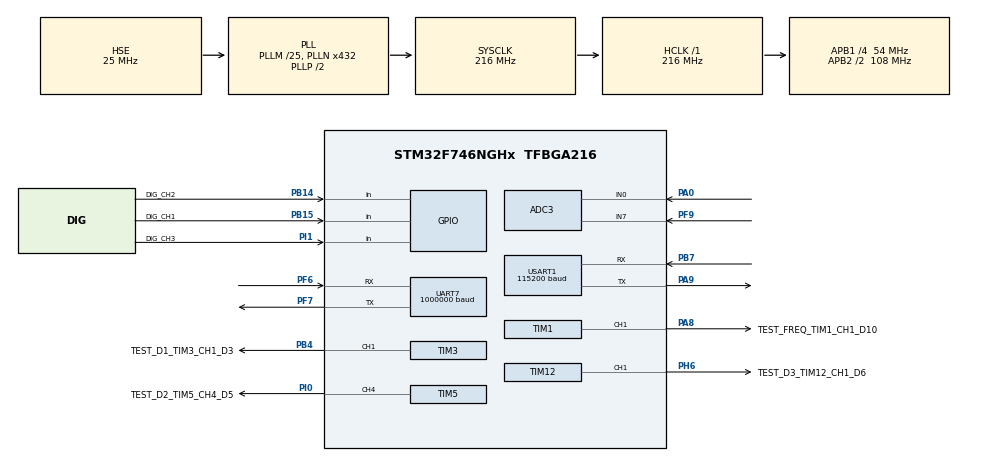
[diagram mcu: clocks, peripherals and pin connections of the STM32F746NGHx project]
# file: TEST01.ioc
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ADC3.Channel-0\#ChannelRegularConversion=ADC_CHANNEL_7
ADC3.Channel-1\#ChannelRegularConversion=ADC_CHANNEL_0
ADC3.ClockPrescaler=ADC_CLOCK_SYNC_PCLK_DIV4
ADC3.DMAContinuousRequests=ENABLE
ADC3.ExternalTrigConv=ADC_EXTERNALTRIGCONV_T8_TRGO
ADC3.NbrOfConversion=2
ADC3.NbrOfConversionFlag=1
ADC3.Rank-0\#ChannelRegularConversion=1
ADC3.Rank-1\#ChannelRegularConversion=2
ADC3.SamplingTime-0\#ChannelRegularConversion=ADC_SAMPLETIME_84CYCLES
ADC3.SamplingTime-1\#ChannelRegularConversion=ADC_SAMPLETIME_28CYCLES
CORTEX_M7.default_mode_Activation=1
Dma.ADC3.0.Direction=DMA_PERIPH_TO_MEMORY
Dma.ADC3.0.FIFOMode=DMA_FIFOMODE_DISABLE
Dma.ADC3.0.Instance=DMA2_Stream0
Dma.ADC3.0.MemDataAlignment=DMA_MDATAALIGN_HALFWORD
Dma.ADC3.0.MemInc=DMA_MINC_ENABLE
Dma.ADC3.0.Mode=DMA_CIRCULAR
Dma.ADC3.0.PeriphDataAlignment=DMA_PDATAALIGN_HALFWORD
Dma.ADC3.0.PeriphInc=DMA_PINC_DISABLE
Dma.ADC3.0.Priority=DMA_PRIORITY_LOW
Dma.Request0=ADC3
Mcu.Family=STM32F7
Mcu.Name=STM32F746NGHx
Mcu.Package=TFBGA216
NVIC.DMA2_Stream0_IRQn=true\:0\:0\:false\:false\:true\:false\:true\:true
NVIC.PriorityGroup=NVIC_PRIORITYGROUP_4
NVIC.TIM8_UP_TIM13_IRQn=true\:0\:0\:false\:false\:true\:true\:true\:true
NVIC.UART7_IRQn=true\:1\:0\:false\:false\:true\:true\:true\:true
NVIC.USART1_IRQn=true\:1\:0\:false\:false\:true\:true\:true\:true
PA0/WKUP.Signal=ADCx_IN0
PA13.Mode=Trace_Asynchronous_SW
PA13.Signal=SYS_JTMS-SWDIO
PA14.Mode=Trace_Asynchronous_SW
PA14.Signal=SYS_JTCK-SWCLK
PA8.GPIO_Label=TEST_FREQ_TIM1_CH1_D10
PA8.GPIO_ModeDefaultPP=GPIO_MODE_AF_PP
PA8.GPIO_PuPd=GPIO_NOPULL
PA8.GPIO_Speed=GPIO_SPEED_FREQ_LOW
PA8.Signal=S_TIM1_CH1
PA9.Mode=Asynchronous
PA9.Signal=USART1_TX
PB14.GPIO_Label=DIG_CH2
PB14.GPIO_PuPd=GPIO_PULLDOWN
PB14.Signal=GPIO_Input
PB15.GPIO_Label=DIG_CH1
PB15.GPIO_PuPd=GPIO_PULLDOWN
PB15.Signal=GPIO_Input
PB3.Mode=Trace_Asynchronous_SW
PB3.Signal=SYS_JTDO-SWO
PB4.GPIO_Label=TEST_D1_TIM3_CH1_D3
PB4.GPIO_ModeDefaultPP=GPIO_MODE_AF_PP
PB4.GPIO_PuPd=GPIO_NOPULL
PB4.GPIO_Speed=GPIO_SPEED_FREQ_LOW
PB4.Signal=S_TIM3_CH1
PB7.Mode=Asynchronous
PB7.Signal=USART1_RX
PF6.GPIO_PuPd=GPIO_PULLUP
PF6.Mode=Asynchronous
PF6.Signal=UART7_RX
PF7.Mode=Asynchronous
PF7.Signal=UART7_TX
PF9.Mode=IN7
PF9.Signal=ADC3_IN7
PH6.GPIO_Label=TEST_D3_TIM12_CH1_D6
PH6.GPIO_ModeDefaultPP=GPIO_MODE_AF_PP
PH6.GPIO_PuPd=GPIO_NOPULL
PH6.GPIO_Speed=GPIO_SPEED_FREQ_LOW
PH6.Signal=S_TIM12_CH1
PI0.GPIO_Label=TEST_D2_TIM5_CH4_D5
PI0.GPIO_ModeDefaultPP=GPIO_MODE_AF_PP
PI0.GPIO_PuPd=GPIO_NOPULL
PI0.GPIO_Speed=GPIO_SPEED_FREQ_LOW
PI0.Signal=S_TIM5_CH4
PI1.GPIO_Label=DIG_CH3
PI1.GPIO_PuPd=GPIO_PULLDOWN
PI1.Signal=GPIO_Input
ProjectManager.HeapSize=0x200
ProjectManager.StackSize=0x400
ProjectManager.TargetToolchain=STM32CubeIDE
RCC.AHBFreq_Value=216000000
RCC.APB1CLKDivider=RCC_HCLK_DIV4
RCC.APB1Freq_Value=54000000
RCC.APB1TimFreq_Value=108000000
RCC.APB2CLKDivider=RCC_HCLK_DIV2
RCC.APB2Freq_Value=108000000
RCC.APB2TimFreq_Value=216000000
RCC.CortexFreq_Value=216000000
RCC.HCLKFreq_Value=216000000
RCC.HSE_VALUE=25000000
RCC.HSI_VALUE=16000000
RCC.LSE_VALUE=32768
RCC.PLLM=25
RCC.PLLN=432
RCC.PLLSourceVirtual=RCC_PLLSOURCE_HSE
RCC.SYSCLKFreq_VALUE=216000000
RCC.SYSCLKSource=RCC_SYSCLKSOURCE_PLLCLK
RCC.USBFreq_Value=216000000
RCC.VCOOutputFreq_Value=432000000
SH.ADCx_IN0.0=ADC3_IN0,IN0
SH.S_TIM12_CH1.0=TIM12_CH1,PWM Generation1 CH1
SH.S_TIM1_CH1.0=TIM1_CH1,PWM Generation1 CH1
SH.S_TIM3_CH1.0=TIM3_CH1,PWM Generation1 CH1
SH.S_TIM5_CH4.0=TIM5_CH4,PWM Generation4 CH4
TIM1.AutoReloadPreload=TIM_AUTORELOAD_PRELOAD_ENABLE
TIM1.Channel-PWM\ Generation1\ CH1=TIM_CHANNEL_1
TIM1.Period=999
TIM1.Prescaler=215
TIM12.AutoReloadPreload=TIM_AUTORELOAD_PRELOAD_ENABLE
TIM12.Channel-PWM\ Generation1\ CH1=TIM_CHANNEL_1
TIM12.Period=1999
TIM12.Prescaler=107
TIM3.AutoReloadPreload=TIM_AUTORELOAD_PRELOAD_ENABLE
TIM3.Channel-PWM\ Generation1\ CH1=TIM_CHANNEL_1
TIM3.Period=9999
TIM3.Prescaler=107
TIM5.AutoReloadPreload=TIM_AUTORELOAD_PRELOAD_ENABLE
TIM5.Channel-PWM\ Generation4\ CH4=TIM_CHANNEL_4
TIM5.Period=3999
TIM5.Prescaler=107
TIM8.Prescaler=215
TIM8.TIM_MasterOutputTrigger=TIM_TRGO_UPDATE
TIM8.TIM_MasterSlaveMode=TIM_MASTERSLAVEMODE_DISABLE
UART7.BaudRate=1000000
UART7.VirtualMode-Asynchronous=VM_ASYNC
USART1.BaudRate=115200
USART1.VirtualMode-Asynchronous=VM_ASYNC
VP_TIM12_VS_ClockSourceINT.Mode=Internal
VP_TIM1_VS_ClockSourceINT.Mode=Internal
VP_TIM3_VS_ClockSourceINT.Mode=Internal
VP_TIM5_VS_ClockSourceINT.Mode=Internal
VP_TIM8_VS_ClockSourceINT.Mode=Internal
board=custom

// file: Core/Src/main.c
/* USER CODE BEGIN Header */
/**
  ******************************************************************************
  * @file           : main.c
  * @brief          : Main program body
  ******************************************************************************
  * @attention
  *
  * Copyright (c) 2026 STMicroelectronics.
  * All rights reserved.
  *
  * This software is licensed under terms that can be found in the LICENSE file
  * in the root directory of this software component.
  * If no LICENSE file comes with this software, it is provided AS-IS.
  *
  ******************************************************************************
  */
/* USER CODE END Header */
#include "main.h"
#include "adc.h"
#include "dma.h"
#include "tim.h"
#include "usart.h"
#include "gpio.h"

/* USER CODE BEGIN Includes */
#include "acquisition.h"
#include "channel_protocol.h"
/* USER CODE END Includes */

/* USER CODE BEGIN PD */
#define MIC_EDGE_RAW_THRESHOLD 1600U
#define MIC_FILTER_TAPS 5U
#define MIC_CENTER_MV 1500
#define MIC_MIN_AUTO_CENTER_SPAN_MV 120U
#define MIC_MAX_DISPLAY_SPAN_MV 2400U
#define MIC_RAIL_LOW_MV 250U
#define MIC_RAIL_HIGH_MV 2900U

/* USER CODE END PD */

/* USER CODE BEGIN PV */
static uint16_t ch1_samples[PROTOCOL_SAMPLES_PER_CHANNEL];
static uint16_t ch2_samples[PROTOCOL_SAMPLES_PER_CHANNEL];
static uint16_t ch1_mv[PROTOCOL_SAMPLES_PER_CHANNEL];
static uint16_t ch2_mv[PROTOCOL_SAMPLES_PER_CHANNEL];
static uint8_t digital_samples[PROTOCOL_SAMPLES_PER_CHANNEL];
static uint8_t tx_frame[PROTOCOL_FULL_FRAME_SIZE];
static uint16_t tx_sequence;
static uint16_t pot_filtered_mv;
static uint32_t pot_filter_last_tick;
static uint8_t pot_filter_initialized;

/* USER CODE END PV */

void SystemClock_Config(void);
static void MPU_Config(void);

/* USER CODE BEGIN 0 */

static uint16_t AdcRawToMillivolts(uint16_t raw)
{
  return (uint16_t)(((uint32_t)raw * 3300U + 2047U) / 4095U);
}

/*
 * Smooth the microphone signal with a short five-sample Gaussian kernel:
 *
 *     (1*previous2 + 2*previous1 + 3*current + 2*next1 + 1*next2) / 9
 *
 * A normal 500 Hz to 2 kHz sine wave only changes by a few hundred ADC
 * counts between adjacent samples at the 20 us setting, so it is smoothed
 * without losing its shape. A very large jump larger than
 * MIC_EDGE_RAW_THRESHOLD is treated as a square-wave edge and kept unchanged.
 */
static uint16_t MicrophoneFilterSample(const uint16_t *samples, uint16_t index)
{
  uint16_t previous2 = samples[(index >= 2U) ? (index - 2U) : 0U];
  uint16_t previous1 = samples[(index >= 1U) ? (index - 1U) : 0U];
  uint16_t current = samples[index];
  uint16_t next1 =
      samples[(index + 1U < PROTOCOL_SAMPLES_PER_CHANNEL) ? (index + 1U)
                                                         : index];
  uint16_t next2 =
      samples[(index + 2U < PROTOCOL_SAMPLES_PER_CHANNEL) ? (index + 2U)
                                                         : index];
  uint16_t delta_previous =
      (current > previous1) ? (current - previous1) : (previous1 - current);
  uint16_t delta_next =
      (current > next1) ? (current - next1) : (next1 - current);

  if ((delta_previous >= MIC_EDGE_RAW_THRESHOLD) ||
      (delta_next >= MIC_EDGE_RAW_THRESHOLD))
  {
    return current;
  }

  return (uint16_t)((previous2 +
                     (2U * previous1) +
                     (3U * current) +
                     (2U * next1) +
                     next2 +
                     (MIC_FILTER_TAPS / 2U)) /
                    9U);
}

/*
 * Software AC centering for microphone signals.
 *
 * The external microphone module can output a signal whose DC level is too
 * close to 0 V. The negative half wave then reaches the ADC's lower limit,
 * making the bottom of the sine look flat. Move the measured waveform's
 * vertical midpoint to 1.5 V so both halves stay visible. If the peak-to-peak
 * value is too large, compress it symmetrically instead of clipping it.
 *
 * A frame recognized as a real square wave bypasses this function. This keeps
 * the rectangular-wave test signal in its original 0/3.3 V form.
 */
static void CenterMicrophoneWaveform(uint16_t *samples, uint16_t count,
                                     uint8_t is_square_wave,
                                     uint16_t *output_min,
                                     uint16_t *output_max)
{
  uint16_t minimum = 0xFFFFU;
  uint16_t maximum = 0U;
  uint16_t span;
  int32_t midpoint;
  uint32_t scale_q12 = 4096U;
  uint16_t new_minimum = 0xFFFFU;
  uint16_t new_maximum = 0U;

  if ((samples == NULL) || (count == 0U) || (is_square_wave != 0U))
  {
    return;
  }

  for (uint16_t i = 0U; i < count; ++i)
  {
    if (samples[i] < minimum) minimum = samples[i];
    if (samples[i] > maximum) maximum = samples[i];
  }
  span = (uint16_t)(maximum - minimum);
  if (span < MIC_MIN_AUTO_CENTER_SPAN_MV)
  {
    return;
  }

  midpoint = ((int32_t)minimum + (int32_t)maximum) / 2;
  if (span > MIC_MAX_DISPLAY_SPAN_MV)
  {
    scale_q12 =
        ((uint32_t)MIC_MAX_DISPLAY_SPAN_MV * 4096U + span / 2U) / span;
  }

  for (uint16_t i = 0U; i < count; ++i)
  {
    int32_t relative = ((int32_t)samples[i] - midpoint);
    int32_t value =
        MIC_CENTER_MV + (int32_t)((relative * (int32_t)scale_q12) / 4096);

    if (value < 0) value = 0;
    if (value > 3000) value = 3000;
    samples[i] = (uint16_t)value;
    if (samples[i] < new_minimum) new_minimum = samples[i];
    if (samples[i] > new_maximum) new_maximum = samples[i];
  }

  if (output_min != NULL) *output_min = new_minimum;
  if (output_max != NULL) *output_max = new_maximum;
}

/* USER CODE END 0 */

int main(void)
{

  /* MPU Configuration--------------------------------------------------------*/
  MPU_Config();

  /* MCU Configuration--------------------------------------------------------*/

  /* Reset of all peripherals, Initializes the Flash interface and the Systick. */
  HAL_Init();

  /* Configure the system clock */
  SystemClock_Config();

  /* Initialize all configured peripherals */
  MX_GPIO_Init();
  MX_DMA_Init();
  MX_ADC3_Init();
  MX_TIM1_Init();
  MX_TIM3_Init();
  MX_TIM5_Init();
  MX_TIM8_Init();
  MX_TIM12_Init();
  MX_USART1_UART_Init();
  MX_UART7_Init();
  /* USER CODE BEGIN 2 */
  if (!Acquisition_Init())
  {
    Error_Handler();
  }
  /* USER CODE END 2 */

  /* Infinite loop */
  /* USER CODE BEGIN WHILE */
  uint32_t next_frame_tick = HAL_GetTick();

  while (1)
  {
    Acquisition_Process();

    uint32_t now = HAL_GetTick();
    if ((int32_t)(now - next_frame_tick) >= 0)
    {
      ProtocolScanMode scan_mode;
      uint32_t capture_tick;

      if (Acquisition_GetLatestFrame(ch1_samples,
                                     ch2_samples,
                                     digital_samples,
                                     PROTOCOL_SAMPLES_PER_CHANNEL,
                                     &scan_mode,
                                     &capture_tick))
      {
        uint16_t ch1_min = 0xFFFFU;
        uint16_t ch1_max = 0U;
        uint16_t ch2_min = 0xFFFFU;
        uint16_t ch2_max = 0U;
        uint16_t ch1_raw_min = 0xFFFFU;
        uint16_t ch1_raw_max = 0U;
        uint16_t ch2_raw_min = 0xFFFFU;
        uint16_t ch2_raw_max = 0U;
        uint32_t ch1_raw_sum = 0U;
        uint16_t d1_high_count = 0U;
        uint16_t d1_low_run = 0U;
        uint16_t d1_high_run = 0U;
        uint16_t d1_max_low_run = 0U;
        uint16_t d1_max_high_run = 0U;
        uint16_t d2_high_count = 0U;
        uint16_t d3_high_count = 0U;
        uint16_t ch2_low_rail_count = 0U;
        uint16_t ch2_high_rail_count = 0U;

        for (uint16_t i = 0U; i < PROTOCOL_SAMPLES_PER_CHANNEL; ++i)
        {
          uint16_t mic_filtered = MicrophoneFilterSample(ch2_samples, i);

          /*
           * The five-point filter suppresses ADC and audio-module noise.
           * Large edges are handled inside MicrophoneFilterSample(), so the
           * same acquisition path still displays the generated square wave.
           */
          ch2_mv[i] = AdcRawToMillivolts(mic_filtered);
          if (ch2_mv[i] < ch2_min) ch2_min = ch2_mv[i];
          if (ch2_mv[i] > ch2_max) ch2_max = ch2_mv[i];
          if (ch2_mv[i] <= MIC_RAIL_LOW_MV) ch2_low_rail_count++;
          if (ch2_mv[i] >= MIC_RAIL_HIGH_MV) ch2_high_rail_count++;

          ch1_raw_sum += ch1_samples[i];
          if (ch1_samples[i] < ch1_raw_min) ch1_raw_min = ch1_samples[i];
          if (ch1_samples[i] > ch1_raw_max) ch1_raw_max = ch1_samples[i];
          if (ch2_samples[i] < ch2_raw_min) ch2_raw_min = ch2_samples[i];
          if (ch2_samples[i] > ch2_raw_max) ch2_raw_max = ch2_samples[i];

          if ((digital_samples[i] & 0x01U) != 0U)
          {
            d1_high_count++;
            d1_high_run++;
            d1_low_run = 0U;
            if (d1_high_run > d1_max_high_run) d1_max_high_run = d1_high_run;
          }
          else
          {
            d1_low_run++;
            d1_high_run = 0U;
            if (d1_low_run > d1_max_low_run) d1_max_low_run = d1_low_run;
          }
          if ((digital_samples[i] & 0x02U) != 0U) d2_high_count++;
          if ((digital_samples[i] & 0x04U) != 0U) d3_high_count++;
        }

        /*
         * A real 0/3.3 V square wave occupies both rails for much of the
         * frame. A microphone transient may produce one large jump, but does
         * not fill both rails. Requiring both rails avoids incorrectly
         * disabling microphone centering during loud audio.
         */
        {
          uint8_t is_square_wave =
              ((ch2_low_rail_count * 4U) > PROTOCOL_SAMPLES_PER_CHANNEL) &&
              ((ch2_high_rail_count * 4U) > PROTOCOL_SAMPLES_PER_CHANNEL);

          CenterMicrophoneWaveform(ch2_mv,
                                   PROTOCOL_SAMPLES_PER_CHANNEL,
                                   is_square_wave,
                                   &ch2_min,
                                   &ch2_max);
        }

        /*
         * CH1 is a potentiometer: its meaningful information is one DC level.
         * A frame average removes ADC noise and supply ripple while preserving
         * the voltage selected by the knob. CH2 remains unfiltered audio.
         */
        {
          uint16_t ch1_raw_average = (uint16_t)(
              (ch1_raw_sum + (PROTOCOL_SAMPLES_PER_CHANNEL / 2U)) /
              PROTOCOL_SAMPLES_PER_CHANNEL);
          uint16_t ch1_mv_average = AdcRawToMillivolts(ch1_raw_average);
          uint32_t now = HAL_GetTick();

          if (!pot_filter_initialized)
          {
            pot_filtered_mv = ch1_mv_average;
            pot_filter_initialized = 1U;
          }
          else
          {
            uint32_t elapsed_ms = now - pot_filter_last_tick;
            int32_t difference =
                (int32_t)ch1_mv_average - (int32_t)pot_filtered_mv;

            if (elapsed_ms == 0U) elapsed_ms = 1U;
            if (elapsed_ms > 1000U) elapsed_ms = 1000U;
            pot_filtered_mv = (uint16_t)(
                (int32_t)pot_filtered_mv +
                (difference * (int32_t)elapsed_ms) /
                    (int32_t)(elapsed_ms + 250U));
          }
          pot_filter_last_tick = now;

          for (uint16_t i = 0U; i < PROTOCOL_SAMPLES_PER_CHANNEL; ++i)
          {
            ch1_mv[i] = pot_filtered_mv;
          }
          /* CH1 in the log is the value actually transmitted to the display. */
          ch1_min = pot_filtered_mv;
          ch1_max = pot_filtered_mv;
        }

        uint16_t frame_length =
            Protocol_BuildFullFrame(ch1_mv,
                                    ch2_mv,
                                    digital_samples,
                                    PROTOCOL_SAMPLES_PER_CHANNEL,
                                    Protocol_ScanIntervalUs(scan_mode),
                                    tx_sequence,
                                    tx_frame);

        if (frame_length == PROTOCOL_FULL_FRAME_SIZE)
        {
          if (Acquisition_TransmitFrame(tx_frame, frame_length))
          {
            Acquisition_ReportFrameStatus(
                tx_sequence,
                PROTOCOL_SAMPLES_PER_CHANNEL,
                Protocol_ScanIntervalUs(scan_mode),
                frame_length,
                ch1_min,
                ch1_max,
                ch2_min,
                ch2_max,
                ch1_raw_min,
                ch1_raw_max,
                ch2_raw_min,
                ch2_raw_max,
                d1_high_count,
                d1_max_low_run,
                d1_max_high_run,
                d2_high_count,
                d3_high_count);
          }
          tx_sequence++;
        }
      }

      next_frame_tick += 20U;
      now = HAL_GetTick();
      if ((int32_t)(now - next_frame_tick) >= 0)
      {
        next_frame_tick = now + 20U;
      }
    }

    /* USER CODE END WHILE */

  }
}

void SystemClock_Config(void)
{
  RCC_OscInitTypeDef RCC_OscInitStruct = {0};
  RCC_ClkInitTypeDef RCC_ClkInitStruct = {0};

  /** Configure the main internal regulator output voltage
  */
  __HAL_RCC_PWR_CLK_ENABLE();
  __HAL_PWR_VOLTAGESCALING_CONFIG(PWR_REGULATOR_VOLTAGE_SCALE1);

  /** Initializes the RCC Oscillators according to the specified parameters
  * in the RCC_OscInitTypeDef structure.
  */
  RCC_OscInitStruct.OscillatorType = RCC_OSCILLATORTYPE_HSE;
  RCC_OscInitStruct.HSEState = RCC_HSE_ON;
  RCC_OscInitStruct.PLL.PLLState = RCC_PLL_ON;
  RCC_OscInitStruct.PLL.PLLSource = RCC_PLLSOURCE_HSE;
  RCC_OscInitStruct.PLL.PLLM = 25;
  RCC_OscInitStruct.PLL.PLLN = 432;
  RCC_OscInitStruct.PLL.PLLP = RCC_PLLP_DIV2;
  RCC_OscInitStruct.PLL.PLLQ = 2;
  if (HAL_RCC_OscConfig(&RCC_OscInitStruct) != HAL_OK)
  {
    Error_Handler();
  }

  if (HAL_PWREx_EnableOverDrive() != HAL_OK)
  {
    Error_Handler();
  }

  /** Initializes the CPU, AHB and APB buses clocks
  */
  RCC_ClkInitStruct.ClockType = RCC_CLOCKTYPE_HCLK|RCC_CLOCKTYPE_SYSCLK
                              |RCC_CLOCKTYPE_PCLK1|RCC_CLOCKTYPE_PCLK2;
  RCC_ClkInitStruct.SYSCLKSource = RCC_SYSCLKSOURCE_PLLCLK;
  RCC_ClkInitStruct.AHBCLKDivider = RCC_SYSCLK_DIV1;
  RCC_ClkInitStruct.APB1CLKDivider = RCC_HCLK_DIV4;
  RCC_ClkInitStruct.APB2CLKDivider = RCC_HCLK_DIV2;

  if (HAL_RCC_ClockConfig(&RCC_ClkInitStruct, FLASH_LATENCY_7) != HAL_OK)
  {
    Error_Handler();
  }
}

 /* MPU Configuration */

void MPU_Config(void)
{
  MPU_Region_InitTypeDef MPU_InitStruct = {0};

  /* Disables the MPU */
  HAL_MPU_Disable();

  /** Initializes and configures the Region and the memory to be protected
  */
  MPU_InitStruct.Enable = MPU_REGION_ENABLE;
  MPU_InitStruct.Number = MPU_REGION_NUMBER0;
  MPU_InitStruct.BaseAddress = 0x0;
  MPU_InitStruct.Size = MPU_REGION_SIZE_4GB;
  MPU_InitStruct.SubRegionDisable = 0x87;
  MPU_InitStruct.TypeExtField = MPU_TEX_LEVEL0;
  MPU_InitStruct.AccessPermission = MPU_REGION_NO_ACCESS;
  MPU_InitStruct.DisableExec = MPU_INSTRUCTION_ACCESS_DISABLE;
  MPU_InitStruct.IsShareable = MPU_ACCESS_SHAREABLE;
  MPU_InitStruct.IsCacheable = MPU_ACCESS_NOT_CACHEABLE;
  MPU_InitStruct.IsBufferable = MPU_ACCESS_NOT_BUFFERABLE;

  HAL_MPU_ConfigRegion(&MPU_InitStruct);
  /* Enables the MPU */
  HAL_MPU_Enable(MPU_PRIVILEGED_DEFAULT);

}

void Error_Handler(void)
{
  __disable_irq();
  while (1)
  {
  }
}
